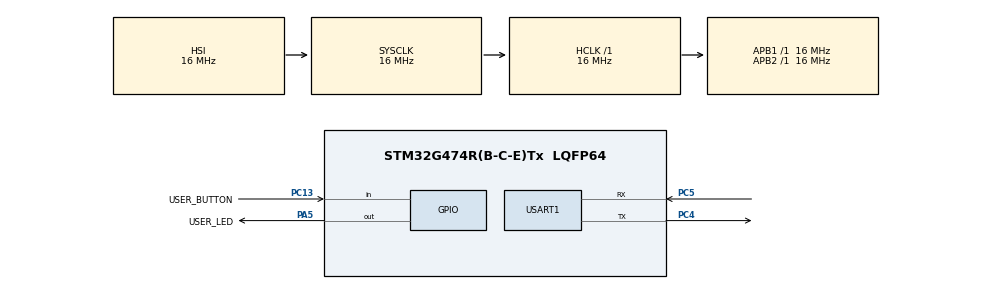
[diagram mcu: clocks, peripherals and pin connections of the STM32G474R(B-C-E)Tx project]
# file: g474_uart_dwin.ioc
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Dma.Request0=USART1_RX
Dma.Request1=USART1_TX
Dma.USART1_RX.0.Direction=DMA_PERIPH_TO_MEMORY
Dma.USART1_RX.0.EventEnable=DISABLE
Dma.USART1_RX.0.Instance=DMA1_Channel1
Dma.USART1_RX.0.MemDataAlignment=DMA_MDATAALIGN_BYTE
Dma.USART1_RX.0.MemInc=DMA_MINC_ENABLE
Dma.USART1_RX.0.Mode=DMA_CIRCULAR
Dma.USART1_RX.0.PeriphDataAlignment=DMA_PDATAALIGN_BYTE
Dma.USART1_RX.0.PeriphInc=DMA_PINC_DISABLE
Dma.USART1_RX.0.Polarity=HAL_DMAMUX_REQ_GEN_RISING
Dma.USART1_RX.0.Priority=DMA_PRIORITY_LOW
Dma.USART1_RX.0.RequestNumber=1
Dma.USART1_RX.0.SignalID=NONE
Dma.USART1_RX.0.SyncEnable=DISABLE
Dma.USART1_RX.0.SyncPolarity=HAL_DMAMUX_SYNC_NO_EVENT
Dma.USART1_RX.0.SyncRequestNumber=1
Dma.USART1_RX.0.SyncSignalID=NONE
Dma.USART1_TX.1.Direction=DMA_MEMORY_TO_PERIPH
Dma.USART1_TX.1.EventEnable=DISABLE
Dma.USART1_TX.1.Instance=DMA1_Channel2
Dma.USART1_TX.1.MemDataAlignment=DMA_MDATAALIGN_BYTE
Dma.USART1_TX.1.MemInc=DMA_MINC_ENABLE
Dma.USART1_TX.1.Mode=DMA_NORMAL
Dma.USART1_TX.1.PeriphDataAlignment=DMA_PDATAALIGN_BYTE
Dma.USART1_TX.1.PeriphInc=DMA_PINC_DISABLE
Dma.USART1_TX.1.Polarity=HAL_DMAMUX_REQ_GEN_RISING
Dma.USART1_TX.1.Priority=DMA_PRIORITY_LOW
Dma.USART1_TX.1.RequestNumber=1
Dma.USART1_TX.1.SignalID=NONE
Dma.USART1_TX.1.SyncEnable=DISABLE
Dma.USART1_TX.1.SyncPolarity=HAL_DMAMUX_SYNC_NO_EVENT
Dma.USART1_TX.1.SyncRequestNumber=1
Dma.USART1_TX.1.SyncSignalID=NONE
Mcu.Family=STM32G4
Mcu.Name=STM32G474R(B-C-E)Tx
Mcu.Package=LQFP64
NVIC.DMA1_Channel1_IRQn=true\:0\:0\:false\:false\:true\:false\:true\:true
NVIC.DMA1_Channel2_IRQn=true\:0\:0\:false\:false\:true\:false\:true\:true
NVIC.PriorityGroup=NVIC_PRIORITYGROUP_4
NVIC.USART1_IRQn=true\:0\:0\:false\:false\:true\:true\:true\:true
PA5.GPIO_Label=USER_LED
PA5.Signal=GPIO_Output
PC13.GPIO_Label=USER_BUTTON
PC13.Signal=GPIO_Input
PC4.Mode=Asynchronous
PC4.Signal=USART1_TX
PC5.Mode=Asynchronous
PC5.Signal=USART1_RX
ProjectManager.HeapSize=0x200
ProjectManager.StackSize=0x400
ProjectManager.TargetToolchain=CMake
RCC.AHBFreq_Value=16000000
RCC.APB1Freq_Value=16000000
RCC.APB1TimFreq_Value=16000000
RCC.APB2Freq_Value=16000000
RCC.APB2TimFreq_Value=16000000
RCC.CortexFreq_Value=16000000
RCC.EXTERNAL_CLOCK_VALUE=12288000
RCC.HCLKFreq_Value=16000000
RCC.HSE_VALUE=16000000
RCC.HSI48_VALUE=48000000
RCC.HSI_VALUE=16000000
RCC.LSE_VALUE=32768
RCC.SYSCLKFreq_VALUE=16000000
RCC.USBFreq_Value=64000000
RCC.VCOOutputFreq_Value=128000000
USART1.VirtualMode-Asynchronous=VM_ASYNC
VP_SYS_VS_DBSignals.Mode=DisableDeadBatterySignals
board=custom

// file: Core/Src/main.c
/* USER CODE BEGIN Header */
/**
  ******************************************************************************
  * @file           : main.c
  * @brief          : Main program body
  ******************************************************************************
  * @attention
  *
  * Copyright (c) 2025 STMicroelectronics.
  * All rights reserved.
  *
  * This software is licensed under terms that can be found in the LICENSE file
  * in the root directory of this software component.
  * If no LICENSE file comes with this software, it is provided AS-IS.
  *
  ******************************************************************************
  */
/* USER CODE END Header */
#include "main.h"

/* USER CODE BEGIN Includes */
#include "dwin_comm.h"
#include "stm32g4xx_hal_gpio.h"
/* USER CODE END Includes */

/* USER CODE BEGIN PD */
#define UART_RX_BUF_SIZE 1024u
/* USER CODE END PD */

UART_HandleTypeDef huart1;
DMA_HandleTypeDef hdma_usart1_rx;
DMA_HandleTypeDef hdma_usart1_tx;

/* USER CODE BEGIN PV */
static uint8_t rxBuffer[UART_RX_BUF_SIZE];
static uint16_t lastBufPos = 0u;
/* USER CODE END PV */

void SystemClock_Config(void);
static void MX_GPIO_Init(void);
static void MX_DMA_Init(void);
static void MX_USART1_UART_Init(void);
/* USER CODE BEGIN PFP */
static void uart1_rx_process(void);
static void dwin_led_callback(uint16_t address, uint16_t value);
/* USER CODE END PFP */

int main(void)
{

  /* MCU Configuration--------------------------------------------------------*/

  /* Reset of all peripherals, Initializes the Flash interface and the Systick. */
  HAL_Init();

  /* Configure the system clock */
  SystemClock_Config();

  /* Initialize all configured peripherals */
  MX_GPIO_Init();
  MX_DMA_Init();
  MX_USART1_UART_Init();
  /* USER CODE BEGIN 2 */
  if (false == dwin_comm_init(&huart1)) {
    Error_Handler();
  }
  dwin_comm_register_callback(0x0001, dwin_led_callback);

  HAL_UART_Receive_DMA(&huart1, rxBuffer, UART_RX_BUF_SIZE);

  GPIO_PinState lastPinState = GPIO_PIN_RESET;

  /* USER CODE END 2 */

  /* Infinite loop */
  /* USER CODE BEGIN WHILE */
while (1) {
    // simulate LCD display
    HAL_Delay(10);

    uart1_rx_process();

    /* USER button handling */

    GPIO_PinState currentPinState = HAL_GPIO_ReadPin(USER_BUTTON_GPIO_Port, USER_BUTTON_Pin);

    if (currentPinState != lastPinState) {
      lastPinState = currentPinState;

      if (GPIO_PIN_SET == currentPinState) {
        // Button pressed
        dwin_comm_set_vp_value(0x0002, 1u);
      } else {
        // Button released
        dwin_comm_set_vp_value(0x0002, 0u);
      }
    }

    /* USER CODE END WHILE */

}
}

void SystemClock_Config(void)
{
  RCC_OscInitTypeDef RCC_OscInitStruct = {0};
  RCC_ClkInitTypeDef RCC_ClkInitStruct = {0};

  /** Configure the main internal regulator output voltage
  */
  HAL_PWREx_ControlVoltageScaling(PWR_REGULATOR_VOLTAGE_SCALE1);

  /** Initializes the RCC Oscillators according to the specified parameters
  * in the RCC_OscInitTypeDef structure.
  */
  RCC_OscInitStruct.OscillatorType = RCC_OSCILLATORTYPE_HSI;
  RCC_OscInitStruct.HSIState = RCC_HSI_ON;
  RCC_OscInitStruct.HSICalibrationValue = RCC_HSICALIBRATION_DEFAULT;
  RCC_OscInitStruct.PLL.PLLState = RCC_PLL_NONE;
  if (HAL_RCC_OscConfig(&RCC_OscInitStruct) != HAL_OK)
  {
    Error_Handler();
  }

  /** Initializes the CPU, AHB and APB buses clocks
  */
  RCC_ClkInitStruct.ClockType = RCC_CLOCKTYPE_HCLK|RCC_CLOCKTYPE_SYSCLK
                              |RCC_CLOCKTYPE_PCLK1|RCC_CLOCKTYPE_PCLK2;
  RCC_ClkInitStruct.SYSCLKSource = RCC_SYSCLKSOURCE_HSI;
  RCC_ClkInitStruct.AHBCLKDivider = RCC_SYSCLK_DIV1;
  RCC_ClkInitStruct.APB1CLKDivider = RCC_HCLK_DIV1;
  RCC_ClkInitStruct.APB2CLKDivider = RCC_HCLK_DIV1;

  if (HAL_RCC_ClockConfig(&RCC_ClkInitStruct, FLASH_LATENCY_0) != HAL_OK)
  {
    Error_Handler();
  }
}

static void MX_USART1_UART_Init(void)
{

  huart1.Instance = USART1;
  huart1.Init.BaudRate = 115200;
  huart1.Init.WordLength = UART_WORDLENGTH_8B;
  huart1.Init.StopBits = UART_STOPBITS_1;
  huart1.Init.Parity = UART_PARITY_NONE;
  huart1.Init.Mode = UART_MODE_TX_RX;
  huart1.Init.HwFlowCtl = UART_HWCONTROL_NONE;
  huart1.Init.OverSampling = UART_OVERSAMPLING_16;
  huart1.Init.OneBitSampling = UART_ONE_BIT_SAMPLE_DISABLE;
  huart1.Init.ClockPrescaler = UART_PRESCALER_DIV1;
  huart1.AdvancedInit.AdvFeatureInit = UART_ADVFEATURE_NO_INIT;
  if (HAL_UART_Init(&huart1) != HAL_OK)
  {
    Error_Handler();
  }
  if (HAL_UARTEx_SetTxFifoThreshold(&huart1, UART_TXFIFO_THRESHOLD_1_8) != HAL_OK)
  {
    Error_Handler();
  }
  if (HAL_UARTEx_SetRxFifoThreshold(&huart1, UART_RXFIFO_THRESHOLD_1_8) != HAL_OK)
  {
    Error_Handler();
  }
  if (HAL_UARTEx_DisableFifoMode(&huart1) != HAL_OK)
  {
    Error_Handler();
  }

}

static void MX_DMA_Init(void)
{

  /* DMA controller clock enable */
  __HAL_RCC_DMAMUX1_CLK_ENABLE();
  __HAL_RCC_DMA1_CLK_ENABLE();

  /* DMA interrupt init */
  /* DMA1_Channel1_IRQn interrupt configuration */
  HAL_NVIC_SetPriority(DMA1_Channel1_IRQn, 0, 0);
  HAL_NVIC_EnableIRQ(DMA1_Channel1_IRQn);
  /* DMA1_Channel2_IRQn interrupt configuration */
  HAL_NVIC_SetPriority(DMA1_Channel2_IRQn, 0, 0);
  HAL_NVIC_EnableIRQ(DMA1_Channel2_IRQn);

}

static void MX_GPIO_Init(void)
{
  GPIO_InitTypeDef GPIO_InitStruct = {0};

  /* GPIO Ports Clock Enable */
  __HAL_RCC_GPIOC_CLK_ENABLE();
  __HAL_RCC_GPIOA_CLK_ENABLE();

  /*Configure GPIO pin Output Level */
  HAL_GPIO_WritePin(USER_LED_GPIO_Port, USER_LED_Pin, GPIO_PIN_RESET);

  /*Configure GPIO pin : USER_BUTTON_Pin */
  GPIO_InitStruct.Pin = USER_BUTTON_Pin;
  GPIO_InitStruct.Mode = GPIO_MODE_INPUT;
  GPIO_InitStruct.Pull = GPIO_NOPULL;
  HAL_GPIO_Init(USER_BUTTON_GPIO_Port, &GPIO_InitStruct);

  /*Configure GPIO pin : USER_LED_Pin */
  GPIO_InitStruct.Pin = USER_LED_Pin;
  GPIO_InitStruct.Mode = GPIO_MODE_OUTPUT_PP;
  GPIO_InitStruct.Pull = GPIO_NOPULL;
  GPIO_InitStruct.Speed = GPIO_SPEED_FREQ_LOW;
  HAL_GPIO_Init(USER_LED_GPIO_Port, &GPIO_InitStruct);

}

/* USER CODE BEGIN 4 */
static void uart_parse_byte(uint8_t byte) {
    dwin_comm_parse(byte);
};

static void uart1_rx_process(void) {
  uint16_t bufPos = UART_RX_BUF_SIZE - __HAL_DMA_GET_COUNTER(huart1.hdmarx);

  if (bufPos != lastBufPos) {

    if(bufPos > lastBufPos)
    {
      /* Buffer not overflowed */
      for (uint16_t i = lastBufPos; i < bufPos; i++) {
        uart_parse_byte(rxBuffer[i]);
      }
    }
    else
    {
      /* Buffer overflowed */
      /* First parse data at the end of the buffer */
      for (uint16_t i = lastBufPos; i < UART_RX_BUF_SIZE; i++) {
        uart_parse_byte(rxBuffer[i]);
      }

      /* Then parse data at the beginning of the buffer */
      for (uint16_t i = 0; i < bufPos; i++) {
        uart_parse_byte(rxBuffer[i]);
      }
    }

    lastBufPos = bufPos;
  }
}

static void dwin_led_callback(uint16_t address, uint16_t value) {
  if (value != 0u) {
    HAL_GPIO_WritePin(USER_LED_GPIO_Port, USER_LED_Pin, GPIO_PIN_SET);
  } else {
    HAL_GPIO_WritePin(USER_LED_GPIO_Port, USER_LED_Pin, GPIO_PIN_RESET);
  }
}

/* USER CODE END 4 */

void Error_Handler(void)
{
  __disable_irq();
  while (1)
  {
  }
}
